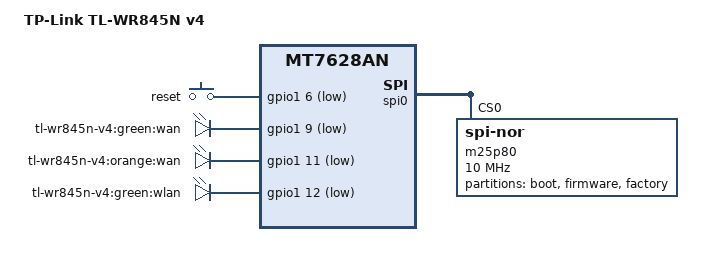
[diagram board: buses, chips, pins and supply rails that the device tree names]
/dts-v1/;

#include "TPLINK-4M.dtsi"

#include <dt-bindings/gpio/gpio.h>
#include <dt-bindings/input/input.h>

/ {
	compatible = "tplink,tl-wr845n-v4", "mediatek,mt7628an-soc";
	model = "TP-Link TL-WR845N v4";

	aliases {
		led-boot = &led_power_green;
		led-failsafe = &led_power_green;
		led-running = &led_power_green;
		led-upgrade = &led_power_green;
	};

 	gpio-keys-polled {
		compatible = "gpio-keys-polled";
		#address-cells = <1>;
		#size-cells = <0>;
		poll-interval = <20>;
 		reset {
			label = "reset";
			gpios = <&gpio1 6 GPIO_ACTIVE_LOW>;
			linux,code = <KEY_RESTART>;
		};
	};
	/* LED used is dual-color,dual lead LED */
	gpio-leds {
		compatible = "gpio-leds";

 		led_power_green: wan_green {
			label = "tl-wr845n-v4:green:wan";
			gpios = <&gpio1 9 GPIO_ACTIVE_LOW>;
		};
 		wan_orange {
			label = "tl-wr845n-v4:orange:wan";
			gpios = <&gpio1 11 GPIO_ACTIVE_LOW>;
		};
 		wlan {
			label = "tl-wr845n-v4:green:wlan";
			gpios = <&gpio1 12 GPIO_ACTIVE_LOW>;
		};
	};
};

&spi0 {
	status = "okay";

	m25p80@0 {
		compatible = "jedec,spi-nor";
		reg = <0>;
		spi-max-frequency = <10000000>;

		partitions {
			compatible = "fixed-partitions";
			#address-cells = <1>;
			#size-cells = <1>;

			partition@0 {
				label = "boot";
				reg = <0x0 0x20000>;
				read-only;
			};

			partition@20000 {
				compatible = "tplink,firmware";
				label = "firmware";
				reg = <0x20000 0x3d0000>;
			};

			factory: partition@3f0000 {
				label = "factory";
				reg = <0x3f0000 0x10000>;
				read-only;
			};
		};
	};
};

&esw {
	mediatek,portmap = <0x3e>;
};

&pinctrl {
	state_default: pinctrl0 {
		gpio {
			ralink,group = "p0led_an", "p1led_an", "p2led_an", "perst", "wled_an";
			ralink,function = "gpio";
		};
	};
};
